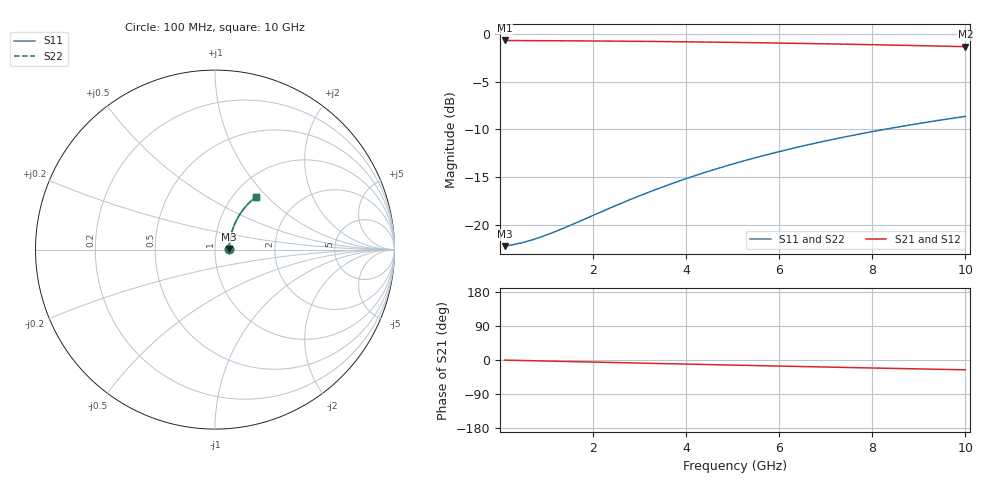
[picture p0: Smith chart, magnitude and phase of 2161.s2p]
# Hz S RI R 50.00
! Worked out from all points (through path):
!   100 points, 100 MHz to 10 GHz, reference 50 ohm
!   highest |S21| = -0.70 dB at 100 MHz (marker M1); lowest = -1.3 dB at 10 GHz (marker M2)
!   group delay of S21, straight-line fit = 7.22 ps
!   lowest |S11| = -22.3 dB at 100 MHz (marker M3), VSWR 1.17, Z = 58.3 + j0.419 ohm
!   |S11| at or under -10 dB: start of sweep to 8.284 GHz
!   |S22| runs from -22.3 to -8.7 dB; largest |S21 - S12| = 0
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1e8  0.077 0.00357  0.923 -0.00439  0.923 -0.00439  0.077 0.00357
3e8  0.0779 0.0107  0.9221 -0.0132  0.9221 -0.0132  0.0779 0.0107
5e8  0.0787 0.0178  0.9213 -0.0219  0.9213 -0.0219  0.0787 0.0178
8e8  0.0799 0.0284  0.9201 -0.035  0.9201 -0.035  0.0799 0.0284
1e9  0.0808 0.0355  0.9191 -0.0437  0.9191 -0.0437  0.0808 0.0355
1.2e9  0.0818 0.0425  0.9181 -0.0523  0.9181 -0.0523  0.0818 0.0425
1.8e9  0.0854 0.0634  0.9145 -0.0782  0.9145 -0.0782  0.0854 0.0634
2.3e9  0.0892 0.0806  0.9106 -0.0995  0.9106 -0.0995  0.0892 0.0806
2.7e9  0.0928 0.0942  0.907 -0.1164  0.907 -0.1164  0.0928 0.0942
3.1e9  0.0968 0.1076  0.9029 -0.1331  0.9029 -0.1331  0.0968 0.1076
3.4e9  0.1001 0.1175  0.8995 -0.1454  0.8995 -0.1454  0.1001 0.1175
3.8e9  0.1049 0.1305  0.8945 -0.1618  0.8945 -0.1618  0.1049 0.1305
4.2e9  0.1102 0.1433  0.8891 -0.1778  0.8891 -0.1778  0.1102 0.1433
4.6e9  0.1159 0.1558  0.8833 -0.1937  0.8833 -0.1937  0.1159 0.1558
5.1e9  0.1236 0.1711  0.8754 -0.213  0.8754 -0.213  0.1236 0.1711
5.5e9  0.1302 0.1829  0.8687 -0.2282  0.8687 -0.2282  0.1302 0.1829
5.9e9  0.1372 0.1945  0.8615 -0.243  0.8615 -0.243  0.1372 0.1945
6.7e9  0.1523 0.2165  0.8461 -0.2717  0.8461 -0.2717  0.1523 0.2165
7.5e9  0.1686 0.2372  0.8293 -0.299  0.8293 -0.299  0.1686 0.2372
8.4e9  0.1883 0.2586  0.8091 -0.3279  0.8091 -0.3279  0.1883 0.2586
9.2e9  0.2069 0.276  0.7901 -0.3519  0.7901 -0.3519  0.2069 0.276
1e10  0.2262 0.2918  0.7702 -0.3744  0.7702 -0.3744  0.2262 0.2918
